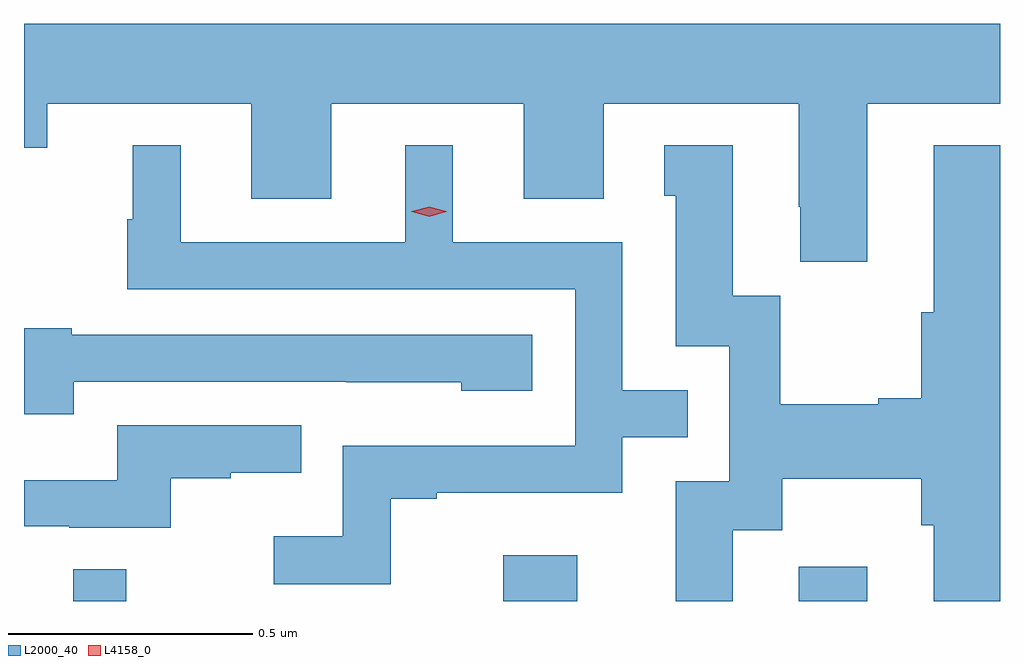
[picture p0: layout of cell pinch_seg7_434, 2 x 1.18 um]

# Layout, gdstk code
import gdstk
lib = gdstk.Library(unit=1e-6, precision=1e-09)
def R(c, l, rs):  # rectangles x0, y0, x1, y1
    for r in rs: c.add(gdstk.rectangle(r[:2], r[2:], *l))
def P(c, l, *ps):  # polygons
    for p in ps: c.add(gdstk.Polygon(p, *l))
L2000_40 = (2000, 40)
L4158_0 = (4158, 0)

pinch_seg7_434 = lib.new_cell('pinch_seg7_434')
R(pinch_seg7_434, L2000_40, [(351.546,1046.217,351.655,1046.282), (352.427,1046.217,352.579,1046.311), (353.033,1046.217,353.173,1046.287)])
P(pinch_seg7_434, L2000_40, [(353.173,1047.236),(353.445,1047.236),(353.445,1047.4),(351.445,1047.4),(351.445,1047.146),(351.493,1047.146),(351.493,1047.236),(351.911,1047.236),(351.911,1047.042),(352.075,1047.042),(352.075,1047.236),(352.469,1047.236),(352.469,1047.042),(352.633,1047.042),(352.633,1047.236),(353.033,1047.236),(353.033,1047.025),(353.036,1047.025),(353.036,1046.913),(353.173,1046.913)],
  [(352.197,1046.427),(352.291,1046.427),(352.291,1046.439),(352.671,1046.439),(352.671,1046.553),(352.805,1046.553),(352.805,1046.649),(352.671,1046.649),(352.671,1046.952),(352.324,1046.952),(352.324,1047.151),(352.226,1047.151),(352.226,1046.952),(351.766,1046.952),(351.766,1047.151),(351.668,1047.151),(351.668,1047),(351.657,1047),(351.657,1046.856),(352.575,1046.856),(352.575,1046.535),(352.098,1046.535),(352.098,1046.35),(351.957,1046.35),(351.957,1046.252),(352.197,1046.252)],
  [(352.897,1046.362),(352.999,1046.362),(352.999,1046.468),(353.284,1046.468),(353.284,1046.373),(353.309,1046.373),(353.309,1046.217),(353.445,1046.217),(353.445,1047.151),(353.309,1047.151),(353.309,1046.809),(353.284,1046.809),(353.284,1046.633),(353.195,1046.633),(353.195,1046.62),(352.995,1046.62),(352.995,1046.843),(352.897,1046.843),(352.897,1047.151),(352.757,1047.151),(352.757,1047.048),(352.781,1047.048),(352.781,1046.739),(352.89,1046.739),(352.89,1046.463),(352.781,1046.463),(352.781,1046.217),(352.897,1046.217)],
  [(351.547,1046.667),(352.105,1046.667),(352.105,1046.666),(352.341,1046.666),(352.341,1046.648),(352.486,1046.648),(352.486,1046.763),(351.543,1046.763),(351.543,1046.776),(351.445,1046.776),(351.445,1046.6),(351.547,1046.6)],
  [(351.746,1046.469),(351.869,1046.469),(351.869,1046.48),(352.013,1046.48),(352.013,1046.577),(351.636,1046.577),(351.636,1046.465),(351.445,1046.465),(351.445,1046.37),(351.538,1046.37),(351.538,1046.367),(351.746,1046.367)])
P(pinch_seg7_434, L4158_0, [(352.275,1047.005),(352.24,1047.015),(352.239,1047.015),(352.24,1047.016),(352.275,1047.025),(352.31,1047.016),(352.311,1047.015),(352.31,1047.015)])

lib.write_gds('pinch_seg7_434.gds')
